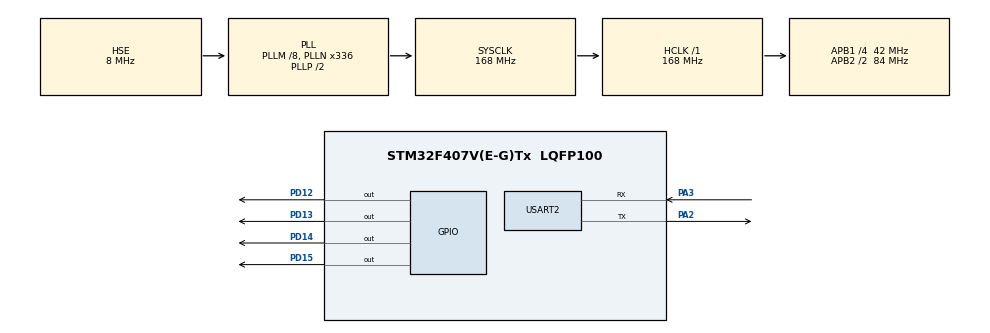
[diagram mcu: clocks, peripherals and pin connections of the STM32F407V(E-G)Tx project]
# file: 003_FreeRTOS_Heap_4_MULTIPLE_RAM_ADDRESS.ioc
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FREERTOS.HEAP_NUMBER=5
FREERTOS.Tasks01=defaultTask,24,128,StartDefaultTask,Default,NULL,Dynamic,NULL,NULL
Mcu.Family=STM32F4
Mcu.Name=STM32F407V(E-G)Tx
Mcu.Package=LQFP100
NVIC.PriorityGroup=NVIC_PRIORITYGROUP_4
NVIC.TIM8_TRG_COM_TIM14_IRQn=true\:15\:0\:false\:false\:true\:false\:false\:true\:true
NVIC.TimeBase=TIM8_TRG_COM_TIM14_IRQn
NVIC.TimeBaseIP=TIM14
NVIC.USART2_IRQn=true\:5\:0\:false\:false\:true\:true\:true\:true\:true
PA2.Mode=Asynchronous
PA2.Signal=USART2_TX
PA3.Mode=Asynchronous
PA3.Signal=USART2_RX
PD12.Signal=GPIO_Output
PD13.Signal=GPIO_Output
PD14.Signal=GPIO_Output
PD15.Signal=GPIO_Output
PH0-OSC_IN.Mode=HSE-External-Oscillator
PH0-OSC_IN.Signal=RCC_OSC_IN
PH1-OSC_OUT.Mode=HSE-External-Oscillator
PH1-OSC_OUT.Signal=RCC_OSC_OUT
ProjectManager.HeapSize=0x200
ProjectManager.StackSize=0x400
ProjectManager.TargetToolchain=STM32CubeIDE
RCC.48MHZClocksFreq_Value=48000000
RCC.AHBFreq_Value=168000000
RCC.APB1CLKDivider=RCC_HCLK_DIV4
RCC.APB1Freq_Value=42000000
RCC.APB1TimFreq_Value=84000000
RCC.APB2CLKDivider=RCC_HCLK_DIV2
RCC.APB2Freq_Value=84000000
RCC.APB2TimFreq_Value=168000000
RCC.CortexFreq_Value=168000000
RCC.HCLKFreq_Value=168000000
RCC.HSE_VALUE=8000000
RCC.HSI_VALUE=16000000
RCC.LSE_VALUE=32768
RCC.PLLM=8
RCC.PLLN=336
RCC.PLLQ=7
RCC.PLLSourceVirtual=RCC_PLLSOURCE_HSE
RCC.SYSCLKFreq_VALUE=168000000
RCC.SYSCLKSource=RCC_SYSCLKSOURCE_PLLCLK
RCC.VCOOutputFreq_Value=336000000
USART2.VirtualMode=VM_ASYNC
VP_FREERTOS_VS_CMSIS_V2.Mode=CMSIS_V2
VP_SYS_VS_tim14.Mode=TIM14
board=STM32F407G-DISC1

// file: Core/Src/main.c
/* USER CODE BEGIN Header */
/**
  ******************************************************************************
  * @file           : main.c
  * @brief          : Main program body
  ******************************************************************************
  * @attention
  *
  * Copyright (c) 2023 STMicroelectronics.
  * All rights reserved.
  *
  * This software is licensed under terms that can be found in the LICENSE file
  * in the root directory of this software component.
  * If no LICENSE file comes with this software, it is provided AS-IS.
  *
  ******************************************************************************
  */
/* USER CODE END Header */
#include "main.h"
/* USER CODE BEGIN Includes */
#include "FreeRTOS.h"
#include "task.h"
/* USER CODE END Includes */

/* USER CODE BEGIN PD */
/* Define the start address and size of the three RAM regions. */
// this is defined in CCRAM area which is fast one.
//#define RAM1_START_ADDRESS ( ( uint8_t * ) 0x10000000 )
//#define RAM1_SIZE ( 1 * 1024 )
//
//#define RAM2_START_ADDRESS ( ( uint8_t * ) 0x10002000 )
//#define RAM2_SIZE ( 1 * 1024 )
//
//#define RAM3_START_ADDRESS ( ( uint8_t * ) 0x10004000 )
//#define RAM3_SIZE ( 1 * 1024 )

// This is actualy worked :)
#define RAM1_START_ADDRESS ( ( uint8_t * ) 0x20002000 )
#define RAM1_SIZE ( 1 * 1024 )

#define RAM2_START_ADDRESS ( ( uint8_t * ) 0x20004000 )
#define RAM2_SIZE ( 1 * 1024 )

#define RAM3_START_ADDRESS ( ( uint8_t * ) 0x20008000 )
#define RAM3_SIZE ( 1 * 1024 )

/* USER CODE END PD */

UART_HandleTypeDef huart2;

/* Definitions for defaultTask */

/* USER CODE BEGIN PV */
/* Create an array of HeapRegion_t definitions, with an index for each of the three
RAM regions, and terminating the array with a NULL address. The HeapRegion_t
structures must appear in start address order, with the structure that contains the
lowest start address appearing first. */
const HeapRegion_t xHeapRegions[] =
{
 { RAM1_START_ADDRESS, RAM1_SIZE },
 { RAM2_START_ADDRESS, RAM2_SIZE },
 { RAM3_START_ADDRESS, RAM3_SIZE },
 { NULL, 0 } /* Marks the end of the array. */
};

/* USER CODE END PV */

void SystemClock_Config(void);
static void MX_GPIO_Init(void);
static void MX_USART2_UART_Init(void);
void StartDefaultTask(void *argument);

/* USER CODE BEGIN 0 */
//uint8_t ucHeap[ configTOTAL_HEAP_SIZE ] __attribute__ ( ( section( ".my_heap" ) ) );
// or for specific adress uint8_t ucHeap[ configTOTAL_HEAP_SIZE ] @ 0x20000000;

void Task1(void *pvParameters)
{
	while(1)
	{
		HAL_GPIO_TogglePin(GPIOD, GPIO_PIN_12);
		vTaskDelay(500);
	}
}
/* USER CODE END 0 */

int main(void)
{

  /* MCU Configuration--------------------------------------------------------*/

  /* Reset of all peripherals, Initializes the Flash interface and the Systick. */
  HAL_Init();

  /* Configure the system clock */
  SystemClock_Config();

  /* Initialize all configured peripherals */
  MX_GPIO_Init();
  MX_USART2_UART_Init();
  /* USER CODE BEGIN 2 */

  vPortDefineHeapRegions( xHeapRegions );

  xTaskCreate(Task1,"Task1", configMINIMAL_STACK_SIZE, NULL, 1, NULL);
  vTaskStartScheduler();
  /* USER CODE END 2 */

  /* Init scheduler */

  /* Create the thread(s) */
  /* creation of defaultTask */

  /* Start scheduler */
  /* We should never get here as control is now taken by the scheduler */
  /* Infinite loop */
  while (1)
  {

  }
}

void SystemClock_Config(void)
{
  RCC_OscInitTypeDef RCC_OscInitStruct = {0};
  RCC_ClkInitTypeDef RCC_ClkInitStruct = {0};

  /** Configure the main internal regulator output voltage
  */
  __HAL_RCC_PWR_CLK_ENABLE();
  __HAL_PWR_VOLTAGESCALING_CONFIG(PWR_REGULATOR_VOLTAGE_SCALE1);

  /** Initializes the RCC Oscillators according to the specified parameters
  * in the RCC_OscInitTypeDef structure.
  */
  RCC_OscInitStruct.OscillatorType = RCC_OSCILLATORTYPE_HSE;
  RCC_OscInitStruct.HSEState = RCC_HSE_ON;
  RCC_OscInitStruct.PLL.PLLState = RCC_PLL_ON;
  RCC_OscInitStruct.PLL.PLLSource = RCC_PLLSOURCE_HSE;
  RCC_OscInitStruct.PLL.PLLM = 8;
  RCC_OscInitStruct.PLL.PLLN = 336;
  RCC_OscInitStruct.PLL.PLLP = RCC_PLLP_DIV2;
  RCC_OscInitStruct.PLL.PLLQ = 7;
  if (HAL_RCC_OscConfig(&RCC_OscInitStruct) != HAL_OK)
  {
    Error_Handler();
  }

  /** Initializes the CPU, AHB and APB buses clocks
  */
  RCC_ClkInitStruct.ClockType = RCC_CLOCKTYPE_HCLK|RCC_CLOCKTYPE_SYSCLK
                              |RCC_CLOCKTYPE_PCLK1|RCC_CLOCKTYPE_PCLK2;
  RCC_ClkInitStruct.SYSCLKSource = RCC_SYSCLKSOURCE_PLLCLK;
  RCC_ClkInitStruct.AHBCLKDivider = RCC_SYSCLK_DIV1;
  RCC_ClkInitStruct.APB1CLKDivider = RCC_HCLK_DIV4;
  RCC_ClkInitStruct.APB2CLKDivider = RCC_HCLK_DIV2;

  if (HAL_RCC_ClockConfig(&RCC_ClkInitStruct, FLASH_LATENCY_5) != HAL_OK)
  {
    Error_Handler();
  }
}

static void MX_USART2_UART_Init(void)
{

  huart2.Instance = USART2;
  huart2.Init.BaudRate = 115200;
  huart2.Init.WordLength = UART_WORDLENGTH_8B;
  huart2.Init.StopBits = UART_STOPBITS_1;
  huart2.Init.Parity = UART_PARITY_NONE;
  huart2.Init.Mode = UART_MODE_TX_RX;
  huart2.Init.HwFlowCtl = UART_HWCONTROL_NONE;
  huart2.Init.OverSampling = UART_OVERSAMPLING_16;
  if (HAL_UART_Init(&huart2) != HAL_OK)
  {
    Error_Handler();
  }

}

static void MX_GPIO_Init(void)
{
  GPIO_InitTypeDef GPIO_InitStruct = {0};

  /* GPIO Ports Clock Enable */
  __HAL_RCC_GPIOH_CLK_ENABLE();
  __HAL_RCC_GPIOA_CLK_ENABLE();
  __HAL_RCC_GPIOD_CLK_ENABLE();

  /*Configure GPIO pin Output Level */
  HAL_GPIO_WritePin(GPIOD, GPIO_PIN_12|GPIO_PIN_13|GPIO_PIN_14|GPIO_PIN_15, GPIO_PIN_RESET);

  /*Configure GPIO pins : PD12 PD13 PD14 PD15 */
  GPIO_InitStruct.Pin = GPIO_PIN_12|GPIO_PIN_13|GPIO_PIN_14|GPIO_PIN_15;
  GPIO_InitStruct.Mode = GPIO_MODE_OUTPUT_PP;
  GPIO_InitStruct.Pull = GPIO_NOPULL;
  GPIO_InitStruct.Speed = GPIO_SPEED_FREQ_LOW;
  HAL_GPIO_Init(GPIOD, &GPIO_InitStruct);

}

void HAL_TIM_PeriodElapsedCallback(TIM_HandleTypeDef *htim)
{
  if (htim->Instance == TIM14) {
    HAL_IncTick();
  }
}

void Error_Handler(void)
{
  /* USER CODE BEGIN Error_Handler_Debug */
  /* User can add his own implementation to report the HAL error return state */
  __disable_irq();
  while (1)
  {
	  HAL_GPIO_WritePin(GPIOD, GPIO_PIN_14,GPIO_PIN_SET);

  }
  /* USER CODE END Error_Handler_Debug */
}
